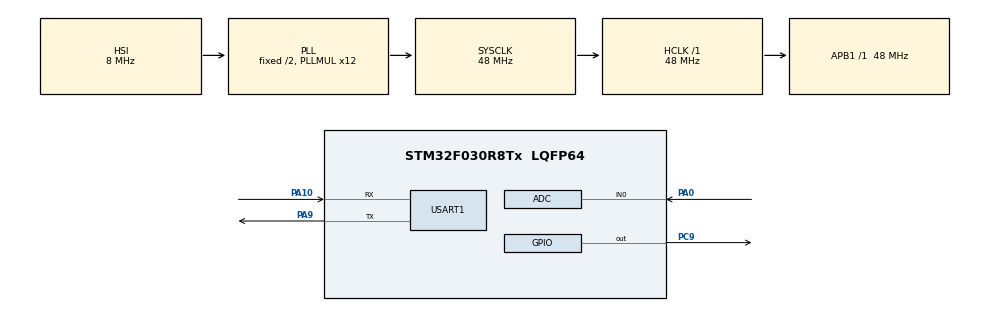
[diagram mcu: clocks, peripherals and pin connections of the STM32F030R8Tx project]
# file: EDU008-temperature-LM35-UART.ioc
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Dma.Request0=USART1_RX
Dma.USART1_RX.0.Direction=DMA_PERIPH_TO_MEMORY
Dma.USART1_RX.0.Instance=DMA1_Channel3
Dma.USART1_RX.0.MemDataAlignment=DMA_MDATAALIGN_BYTE
Dma.USART1_RX.0.MemInc=DMA_MINC_ENABLE
Dma.USART1_RX.0.Mode=DMA_CIRCULAR
Dma.USART1_RX.0.PeriphDataAlignment=DMA_PDATAALIGN_BYTE
Dma.USART1_RX.0.PeriphInc=DMA_PINC_DISABLE
Dma.USART1_RX.0.Priority=DMA_PRIORITY_LOW
Mcu.Family=STM32F0
Mcu.Name=STM32F030R8Tx
Mcu.Package=LQFP64
NVIC.DMA1_Channel2_3_IRQn=true\:0\:0\:false\:false\:true\:false\:true\:true
NVIC.USART1_IRQn=true\:0\:0\:false\:false\:true\:true\:true\:true
PA0.Mode=IN0
PA0.Signal=ADC_IN0
PA10.Mode=Asynchronous
PA10.Signal=USART1_RX
PA14.GPIO_Label=SWCLK
PA14.Signal=SYS_SWCLK
PA9.Mode=Asynchronous
PA9.Signal=USART1_TX
PC9.Signal=GPIO_Output
ProjectManager.HeapSize=0x200
ProjectManager.StackSize=0x400
ProjectManager.TargetToolchain=STM32CubeIDE
RCC.AHBFreq_Value=48000000
RCC.APB1Freq_Value=48000000
RCC.APB1TimFreq_Value=48000000
RCC.HCLKFreq_Value=48000000
RCC.PLLMUL=RCC_PLL_MUL12
RCC.SYSCLKFreq_VALUE=48000000
RCC.SYSCLKSource=RCC_SYSCLKSOURCE_PLLCLK
USART1.VirtualMode-Asynchronous=VM_ASYNC
board=STM32F0308-DISCO

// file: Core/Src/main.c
/* USER CODE BEGIN Header */
/**
 ******************************************************************************
 * @file           : main.c
 * @brief          : Main program body
 ******************************************************************************
 * @attention
 *
 * Copyright (c) 2022 STMicroelectronics.
 * All rights reserved.
 *
 * This software is licensed under terms that can be found in the LICENSE file
 * in the root directory of this software component.
 * If no LICENSE file comes with this software, it is provided AS-IS.
 *
 ******************************************************************************
 */
/* USER CODE END Header */
#include "main.h"
#include "adc.h"
#include "dma.h"
#include "usart.h"
#include "gpio.h"

/* USER CODE BEGIN PD */
uint16_t ADCValue;
uint8_t lowerMessage;
uint8_t upperMessage;
uint8_t message[3];
uint32_t readedData;
/* USER CODE END PD */

void SystemClock_Config(void);
/* USER CODE BEGIN PFP */
void flashWrite(uint32_t flashAddress, uint32_t data);
uint32_t Flash_Read(uint32_t flashAddress);
uint16_t sicaklikOlc();
void sendData(uint16_t data);
/* USER CODE END PFP */

int main(void) {

	/* MCU Configuration--------------------------------------------------------*/

	/* Reset of all peripherals, Initializes the Flash interface and the Systick. */
	HAL_Init();

	/* Configure the system clock */
	SystemClock_Config();

	/* Initialize all configured peripherals */
	MX_GPIO_Init();
	MX_DMA_Init();
	MX_ADC_Init();
	MX_USART1_UART_Init();
	/* USER CODE BEGIN 2 */
	HAL_ADCEx_Calibration_Start(&hadc);

	/* USER CODE END 2 */

	/* Infinite loop */
	/* USER CODE BEGIN WHILE */
	while (1) {
		ADCValue = sicaklikOlc();
		sendData(ADCValue);
		HAL_Delay(2000);
		/* USER CODE END WHILE */

	}
}

void SystemClock_Config(void) {
	RCC_OscInitTypeDef RCC_OscInitStruct = { 0 };
	RCC_ClkInitTypeDef RCC_ClkInitStruct = { 0 };
	RCC_PeriphCLKInitTypeDef PeriphClkInit = { 0 };

	/** Initializes the RCC Oscillators according to the specified parameters
	 * in the RCC_OscInitTypeDef structure.
	 */
	RCC_OscInitStruct.OscillatorType = RCC_OSCILLATORTYPE_HSI
			| RCC_OSCILLATORTYPE_HSI14;
	RCC_OscInitStruct.HSIState = RCC_HSI_ON;
	RCC_OscInitStruct.HSI14State = RCC_HSI14_ON;
	RCC_OscInitStruct.HSICalibrationValue = RCC_HSICALIBRATION_DEFAULT;
	RCC_OscInitStruct.HSI14CalibrationValue = 16;
	RCC_OscInitStruct.PLL.PLLState = RCC_PLL_ON;
	RCC_OscInitStruct.PLL.PLLSource = RCC_PLLSOURCE_HSI;
	RCC_OscInitStruct.PLL.PLLMUL = RCC_PLL_MUL12;
	RCC_OscInitStruct.PLL.PREDIV = RCC_PREDIV_DIV1;
	if (HAL_RCC_OscConfig(&RCC_OscInitStruct) != HAL_OK) {
		Error_Handler();
	}

	/** Initializes the CPU, AHB and APB buses clocks
	 */
	RCC_ClkInitStruct.ClockType = RCC_CLOCKTYPE_HCLK | RCC_CLOCKTYPE_SYSCLK
			| RCC_CLOCKTYPE_PCLK1;
	RCC_ClkInitStruct.SYSCLKSource = RCC_SYSCLKSOURCE_PLLCLK;
	RCC_ClkInitStruct.AHBCLKDivider = RCC_SYSCLK_DIV1;
	RCC_ClkInitStruct.APB1CLKDivider = RCC_HCLK_DIV1;

	if (HAL_RCC_ClockConfig(&RCC_ClkInitStruct, FLASH_LATENCY_1) != HAL_OK) {
		Error_Handler();
	}
	PeriphClkInit.PeriphClockSelection = RCC_PERIPHCLK_USART1;
	PeriphClkInit.Usart1ClockSelection = RCC_USART1CLKSOURCE_PCLK1;
	if (HAL_RCCEx_PeriphCLKConfig(&PeriphClkInit) != HAL_OK) {
		Error_Handler();
	}
}

/* USER CODE BEGIN 4 */
uint16_t sicaklikOlc() {
	uint16_t value;
	HAL_ADC_Start(&hadc);
	HAL_ADC_PollForConversion(&hadc, 1000);
	value = HAL_ADC_GetValue(&hadc);
	HAL_ADC_Stop(&hadc);
	return value;
}
void sendData(uint16_t data) {
	lowerMessage = (uint8_t) data;
	upperMessage = (uint8_t) (data >> 8);
	message[0] = lowerMessage;
	message[1] = (uint8_t) 45;
	message[2] = upperMessage;
	HAL_UART_Transmit(&huart1, message, 3, 1000);
}
/* USER CODE END 4 */

void Error_Handler(void) {
	__disable_irq();
	while (1) {
	}
}
